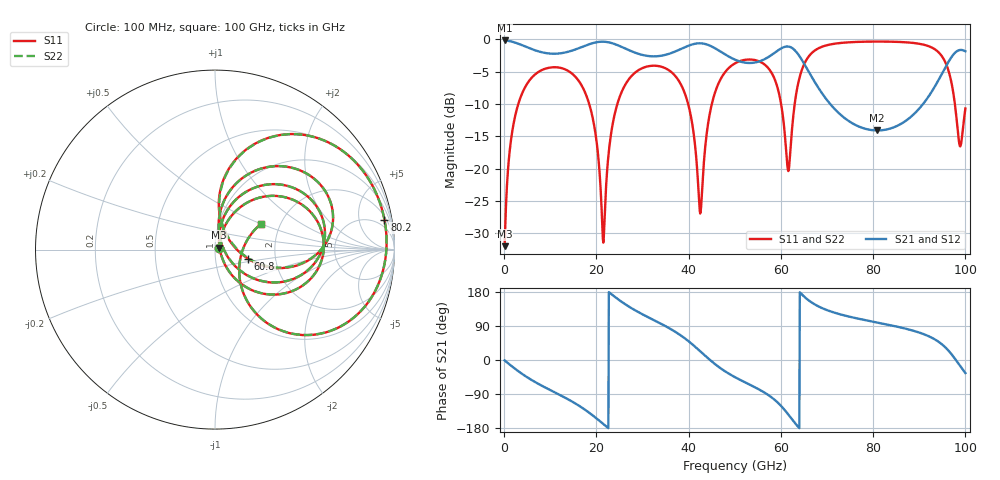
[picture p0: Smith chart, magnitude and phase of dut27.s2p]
! Touchstone file exported from HFSS 2026.1.0
!  File:  C:/ffzhzh/LocalFiles/Ansys_Project_Files/temp_train_TSV_RDL_27_1783615866_29156.aedt
!  Generated:  12:58:47 AM Jul 10, 2026
!  Design:  TSV_RDL
!  Project:  temp_train_TSV_RDL_27_1783615866_29156
! Variables:
!  h_bsmrdl = 2.95um
!  h_ox = 20um
!  h_rdl = 5um
!  h_sub = 95.63um
!  h_tmrdl = 2.86um
!  h_tsv = 95.63um
!  h_via = 3um
!  l_bsmrdl = 136.38um
!  l_sub = 2236.06um
!  l_tmrdl = 340.77um
!  m_sub = 200um
!  pitch = 57.38um
!  r_tsv = 11.39um
!  s_tmrdl = 10um
!  w_bsmrdl = 11.18um
!  w_sub = 500um
!  w_tmrdl = 10.1um
!  x_tsv_center1 = 345.82um
!  x_tsv_center2 = 493.38um
!  x_tsv_center3 = 844.25um
!  x_tsv_center4 = 991.81um
!  x_tsv_center5 = 1342.68um
!  x_tsv_center6 = 1490.24um
# GHz S MA R 50.000000
! Terminal data exported
! Port[1] = TM_RDL1_1_T1
! Port[2] = TM_RDL5_1_T1
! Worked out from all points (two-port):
!   1000 points, 100 MHz to 100 GHz, reference 50 ohm
!   highest |S21| = -0.20 dB at 100 MHz (marker M1); lowest = -14.1 dB at 80.9 GHz (marker M2)
!   |S21| within 3 dB of the highest: start of sweep to 50.16 GHz; 56.16 GHz to 64.54 GHz (8.384 GHz wide, 13.9 % of centre) (the widest 2 of 3)
!   lowest |S11| = -32.0 dB at 100 MHz (marker M3), VSWR 1.05, Z = 52.3 + j1.19 ohm
!   |S11| at or under -10 dB: start of sweep to 3.073 GHz; 18.43 GHz to 24.55 GHz (6.113 GHz wide, 28.4 % of centre); 39.88 GHz to 45.03 GHz (5.149 GHz wide, 12.1 % of centre) (the widest 3 of 5)
!   |S22| runs from -32.0 to -0.4 dB; largest |S21 - S12| = 1.7e-14
!   S11 on the Smith chart (normalised r, x): 100 MHz: 1.05, +0.02; 60.8 GHz: 1.45, -0.15; 80.2 GHz: 3, +11; 100 GHz: 1.59, +0.49
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0.1  0.02518 26.9  0.9777 -1.0  0.9777 -1.0  0.02518 26.9
! Gamma 0 0 0 0
! Port Impedance 50 0 50 0
1.7  0.1883 65.3  0.9567 -16.9  0.9567 -16.9  0.1883 65.3
4.5  0.423 44.9  0.8805 -41.7  0.8805 -41.7  0.423 44.9
16.8  0.439 -34.5  0.869 -125.2  0.869 -125.2  0.439 -34.4
19.6  0.2068 -54.8  0.9401 -150.0  0.9401 -150.0  0.2069 -54.6
21.5  0.02682 11.3  0.9563 -168.9  0.9563 -168.9  0.02758 11.3
25  0.3543 62.8  0.8867 157.6  0.8867 157.6  0.3544 62.7
33.4  0.6204 9.1  0.7398 99.4  0.7398 99.4  0.6204 9.2
39.5  0.3523 -31.2  0.8768 54.2  0.8768 54.2  0.3524 -31.0
42.5  0.04504 18.0  0.9296 23.1  0.9296 23.1  0.0461 18.2
45.2  0.3344 76.1  0.871 -5.8  0.871 -5.8  0.3346 76.0
50.1  0.6523 42.0  0.6936 -45.7  0.6936 -45.7  0.6524 42.1
57.6  0.577 -1.6  0.74 -95.2  0.74 -95.2  0.5771 -1.4
60.8  0.1923 -15.5  0.8719 -131.6  0.8719 -131.6  0.1935 -14.7
61.7  0.0979 43.9  0.8766 -145.2  0.8766 -145.2  0.101 43.7
66.7  0.7825 55.3  0.51 151.6  0.51 151.6  0.7829 55.2
80.2  0.9586 9.9  0.1977 100.5  0.1977 100.5  0.9587 10.0
80.9  0.9589 8.4  0.1972 98.8  0.1972 98.8  0.9589 8.4
83.4  0.9573 3.0  0.2026 92.7  0.2026 92.7  0.9574 3.0
95.4  0.6914 -43.6  0.5819 36.3  0.5819 36.3  0.6912 -43.5
98.7  0.1542 -26.7  0.8238 -13.3  0.8238 -13.3  0.154 -26.5
100  0.2915 29.1  0.8063 -34.5  0.8063 -34.5  0.2918 29.2
